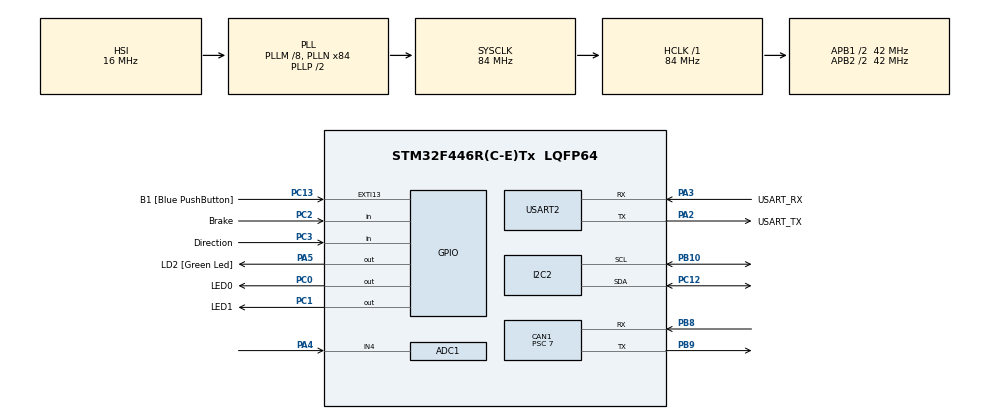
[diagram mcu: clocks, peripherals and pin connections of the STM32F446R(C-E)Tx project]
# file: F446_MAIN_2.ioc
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ADC1.Channel-0\#ChannelRegularConversion=ADC_CHANNEL_4
ADC1.ContinuousConvMode=ENABLE
ADC1.NbrOfConversionFlag=1
ADC1.Rank-0\#ChannelRegularConversion=1
ADC1.SamplingTime-0\#ChannelRegularConversion=ADC_SAMPLETIME_3CYCLES
ADC1.master=1
CAN1.ABOM=ENABLE
CAN1.BS1=CAN_BS1_9TQ
CAN1.BS2=CAN_BS2_2TQ
CAN1.CalculateBaudRate=499999
CAN1.CalculateTimeBit=2000
CAN1.CalculateTimeQuantum=166.66666666666669
CAN1.NART=ENABLE
CAN1.Prescaler=7
Mcu.Family=STM32F4
Mcu.Name=STM32F446R(C-E)Tx
Mcu.Package=LQFP64
NVIC.CAN1_RX0_IRQn=true\:0\:0\:false\:false\:true\:true\:true\:true
NVIC.PriorityGroup=NVIC_PRIORITYGROUP_0
PA13.GPIO_Label=TMS
PA13.Mode=Serial_Wire
PA13.Signal=SYS_JTMS-SWDIO
PA14.GPIO_Label=TCK
PA14.Mode=Serial_Wire
PA14.Signal=SYS_JTCK-SWCLK
PA2.GPIO_Label=USART_TX
PA2.Mode=Asynchronous
PA2.Signal=USART2_TX
PA3.GPIO_Label=USART_RX
PA3.Mode=Asynchronous
PA3.Signal=USART2_RX
PA4.Signal=ADCx_IN4
PA5.GPIO_Label=LD2 [Green Led]
PA5.Signal=GPIO_Output
PB10.Mode=I2C
PB10.Signal=I2C2_SCL
PB3.GPIO_Label=SWO
PB3.Signal=SYS_JTDO-SWO
PB8.Mode=CAN_Activate
PB8.Signal=CAN1_RX
PB9.Mode=CAN_Activate
PB9.Signal=CAN1_TX
PC0.GPIO_Label=LED0
PC0.Signal=GPIO_Output
PC1.GPIO_Label=LED1
PC1.Signal=GPIO_Output
PC12.Mode=I2C
PC12.Signal=I2C2_SDA
PC13.GPIO_Label=B1 [Blue PushButton]
PC13.GPIO_ModeDefaultEXTI=GPIO_MODE_IT_FALLING
PC13.Signal=GPXTI13
PC14-OSC32_IN.Signal=RCC_OSC32_IN
PC15-OSC32_OUT.Signal=RCC_OSC32_OUT
PC2.GPIO_Label=Brake
PC2.GPIO_PuPd=GPIO_PULLUP
PC2.Signal=GPIO_Input
PC3.GPIO_Label=Direction
PC3.GPIO_PuPd=GPIO_PULLUP
PC3.Signal=GPIO_Input
PH0-OSC_IN.Mode=HSE-External-Clock-Source
PH0-OSC_IN.Signal=RCC_OSC_IN
PH1-OSC_OUT.Mode=HSE-External-Clock-Source
PH1-OSC_OUT.Signal=RCC_OSC_OUT
ProjectManager.HeapSize=0x200
ProjectManager.StackSize=0x400
ProjectManager.TargetToolchain=STM32CubeIDE
RCC.AHBFreq_Value=84000000
RCC.APB1CLKDivider=RCC_HCLK_DIV2
RCC.APB1Freq_Value=42000000
RCC.APB1TimFreq_Value=84000000
RCC.APB2CLKDivider=RCC_HCLK_DIV2
RCC.APB2Freq_Value=42000000
RCC.APB2TimFreq_Value=84000000
RCC.CortexFreq_Value=84000000
RCC.FLatency-AdvancedSettings=FLASH_LATENCY_2
RCC.HCLKFreq_Value=84000000
RCC.HSE_VALUE=8000000
RCC.HSI_VALUE=16000000
RCC.LSE_VALUE=32768
RCC.PLLM=8
RCC.PLLN=84
RCC.SYSCLKFreq_VALUE=84000000
RCC.SYSCLKSource=RCC_SYSCLKSOURCE_PLLCLK
RCC.USBFreq_Value=84000000
RCC.VCOOutputFreq_Value=168000000
SH.ADCx_IN4.0=ADC1_IN4,IN4
USART2.VirtualMode=VM_ASYNC
board=NUCLEO-F446RE

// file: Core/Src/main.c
/* USER CODE BEGIN Header */
/**
 ******************************************************************************
 * @file           : main.c
 * @brief          : Main program body
 ******************************************************************************
 * @attention
 *
 * Copyright (c) 2026 STMicroelectronics.
 * All rights reserved.
 *
 * This software is licensed under terms that can be found in the LICENSE file
 * in the root directory of this software component.
 * If no LICENSE file comes with this software, it is provided AS-IS.
 *
 ******************************************************************************
 */
/* USER CODE END Header */
#include "main.h"

/* USER CODE BEGIN Includes */
#include <stdarg.h>
#include <stdio.h>
#include <string.h>
#include "i2c-lcd.h"
/* USER CODE END Includes */

ADC_HandleTypeDef hadc1;

CAN_HandleTypeDef hcan1;

I2C_HandleTypeDef hi2c2;

UART_HandleTypeDef huart2;

/* USER CODE BEGIN PV */

#define CAN_ID_MAIN_TO_ABS       0x111u
#define CAN_ID_ABS_TO_MAIN       0x121u
#define CAN_ID_AIRBAG_TO_MAIN    0x122u

#define UART_PRINT_TIMEOUT_MS    100U
#define ADC_POLL_TIMEOUT_MS      10U
#define TASK_PERIOD_MS           100U

#define LCD_20X04_COLS          20U
#define LCD_20X04_BUF_LEN       21U

char lcd_line0[LCD_20X04_BUF_LEN];
char lcd_line1[LCD_20X04_BUF_LEN];
char lcd_line2[LCD_20X04_BUF_LEN];
char lcd_line3[LCD_20X04_BUF_LEN];

uint8_t speed_left_cmps = 0U;
uint8_t speed_right_cmps = 0U;
uint8_t speed_avg_cmps = 0U;
uint8_t speed_display = 0U;
uint8_t blink_state = 0U;

#define MOVAVG_OLD_WEIGHT        3U
#define MOVAVG_DIVISOR           4U
#define DISPLAY_ZERO_THRESHOLD   2U

char buff[128];

CAN_FilterTypeDef sFilterConfig;
CAN_RxHeaderTypeDef RxHeader;
uint8_t RxData[8];

CAN_TxHeaderTypeDef TxHeader;
uint32_t TxMailbox;
uint8_t TxDataABS[8] = {0u};

uint8_t main_to_abs_cnt = 0u;

volatile uint32_t adc_val = 0u;
volatile uint8_t sw1 = 0u;     // brake
volatile uint8_t sw2 = 0u;      // direction
volatile uint8_t dir_sw = 0u;   // 0=FWD, 1=REV

volatile uint8_t abs1 = 0u;
volatile uint8_t abs2 = 0u;
volatile uint8_t abs3 = 0u;

volatile uint8_t airbag1 = 0u;
volatile uint8_t airbag2 = 0u;
volatile uint8_t airbag3 = 0u;

volatile uint8_t abs_new_data = 0u;
volatile uint8_t airbag_new_data = 0u;
volatile uint8_t emergency_stop = 0u;
/* USER CODE END PV */

void SystemClock_Config(void);
static void MX_GPIO_Init(void);
static void MX_CAN1_Init(void);
static void MX_USART2_UART_Init(void);
static void MX_ADC1_Init(void);
static void MX_I2C2_Init(void);
/* USER CODE BEGIN PFP */

void mPrint(const char *format, ...);
void Send_Command_To_ABS(void);
void Update_Rear_LEDs(void);

/* USER CODE END PFP */

/* USER CODE BEGIN 0 */

void mPrint(const char * format, ...)
{
	va_list args;
	int32_t len;
	(void)memset((void *)buff, 0, sizeof(buff));

	va_start(args, format);
	len = (int32_t)vsnprintf(buff, sizeof(buff), format, args);
	va_end(args);

	if (len > 0)
	{
		uint16_t tx_len = (len >= (int32_t)sizeof(buff)) ? (uint16_t)(sizeof(buff) - 1U) : (uint16_t)len;
		(void)HAL_UART_Transmit(&huart2, (uint8_t *)buff, tx_len, UART_PRINT_TIMEOUT_MS);
	}
}

void Read_Local_Inputs(void)
{
	//Read pot
	HAL_ADC_Start(&hadc1);
	HAL_ADC_PollForConversion(&hadc1, ADC_POLL_TIMEOUT_MS);
	adc_val = HAL_ADC_GetValue(&hadc1);
	HAL_ADC_Stop(&hadc1);

	//PC2 brake
	sw1 = (HAL_GPIO_ReadPin(GPIOC, GPIO_PIN_13) == GPIO_PIN_RESET) ? 1U : 0U;

	//PC3 direction
	sw2 = (HAL_GPIO_ReadPin(GPIOC, GPIO_PIN_3) == GPIO_PIN_RESET) ? 1U : 0U;
	dir_sw = sw2;
}

void Send_Command_To_ABS(void)
{
	uint32_t adc_to_send;
	uint8_t brake_to_send;
	uint8_t dir_to_send;
	HAL_StatusTypeDef can_status;

	TxHeader.StdId = CAN_ID_MAIN_TO_ABS;
	TxHeader.ExtId = 0u;
	TxHeader.IDE   = CAN_ID_STD;
	TxHeader.RTR   = CAN_RTR_DATA;
	TxHeader.DLC   = 4u;
	TxHeader.TransmitGlobalTime = DISABLE;

	Read_Local_Inputs();

	adc_to_send   = adc_val;
	brake_to_send = sw1;
	dir_to_send   = sw2;

	if (emergency_stop)
	{
		adc_to_send   = 0u;
		brake_to_send = 1u;
	}

	TxDataABS[0] = (uint8_t)(adc_to_send & 0xFFu);         // low byte
	TxDataABS[1] = (uint8_t)((adc_to_send >> 8) & 0x0Fu);  // high byte
	TxDataABS[2] = brake_to_send;                         // brake
	TxDataABS[3] = dir_to_send;                           // dir

	can_status = HAL_CAN_AddTxMessage(&hcan1, &TxHeader, TxDataABS, &TxMailbox);

	if (can_status == HAL_OK)
	{
		if (emergency_stop != 0U)
		{
			mPrint("[MAIN->ABS] EMERGENCY STOP | RAW=%02X %02X %02X %02X\r\n",
					TxDataABS[0],
					TxDataABS[1],
					TxDataABS[2],
					TxDataABS[3]);
		}
		else
		{
			mPrint("[MAIN TX ABS] ID=0x111 | ADC=%lu | BRAKE=%u | DIR=%u | RAW=%02X %02X %02X %02X\r\n",
					adc_to_send,
					brake_to_send,
					dir_to_send,
					TxDataABS[0],
					TxDataABS[1],
					TxDataABS[2],
					TxDataABS[3]);
		}

		main_to_abs_cnt++;
	}
	else
	{
		mPrint("[MAIN TX ABS] FAIL | err=0x%08lX | free=%lu\r\n",
				HAL_CAN_GetError(&hcan1),
				HAL_CAN_GetTxMailboxesFreeLevel(&hcan1));
	}
}

void HAL_CAN_RxFifo0MsgPendingCallback(CAN_HandleTypeDef * hcan)
{
	HAL_StatusTypeDef rx_status = HAL_CAN_GetRxMessage(hcan, CAN_RX_FIFO0, &RxHeader, RxData);

	if (rx_status == HAL_OK && RxHeader.IDE == CAN_ID_STD) //STD-11bits
	{
		if (RxHeader.StdId == CAN_ID_ABS_TO_MAIN) //0x121
		{
			if (RxHeader.DLC >= 3U)
			{
				abs1 = RxData[0];
				abs2 = RxData[1];
				abs3 = RxData[2];
				abs_new_data = 1U;
			}
		}
		else if (RxHeader.StdId == CAN_ID_AIRBAG_TO_MAIN) //0x122
		{
			if (RxHeader.DLC >= 1U)
			{
				airbag1 = RxData[0];
				if (airbag1 == 1u) {
					emergency_stop = 1u;
				} else {
					emergency_stop = 0u;
				}
				airbag_new_data = 1U;
			}
		}
	}
}

void Update_Rear_LEDs(void)
{
	if (sw1 == 1U)//brake
	{
		HAL_GPIO_WritePin(GPIOC, GPIO_PIN_0 | GPIO_PIN_1, GPIO_PIN_SET);
	}
	else if (dir_sw == 1U)//backward
	{
		//500ms on-off
		if ((HAL_GetTick() / 500U) % 2U == 0U)
		{
			HAL_GPIO_WritePin(GPIOC, GPIO_PIN_0 | GPIO_PIN_1, GPIO_PIN_SET);
		}
		else
		{
			HAL_GPIO_WritePin(GPIOC, GPIO_PIN_0 | GPIO_PIN_1, GPIO_PIN_RESET);
		}
	}
	else
	{
		HAL_GPIO_WritePin(GPIOC, GPIO_PIN_0 | GPIO_PIN_1, GPIO_PIN_RESET);
	}
}

void Update_LCD(void)
{
	static uint32_t last_lcd_update = 0;

	if (HAL_GetTick() - last_lcd_update >= 150)
	{
		last_lcd_update = HAL_GetTick();

		char buf0[21] = {0};
		char buf1[21] = {0};
		char buf2[21] = {0};
		char buf3[21] = {0};

		if (emergency_stop == 1u)
		{
			sprintf(buf0, "!!! EMERGENCY !!!");
			sprintf(buf1, "  AIRBAG DEPLOYED!  ");
			sprintf(buf2, "  SYSTEM LOCKED  ");
			sprintf(buf3, "  ACTION NEEDED  ");
		}
		else
		{
			char* dir_str = (dir_sw == 0) ? "FWD" : "REV";
			sprintf(buf0, "	NODE MAIN	");

			uint8_t throttle_pct = (adc_val * 100) / 4095;
			uint8_t num_blocks = (adc_val * 10) / 4095;
			if (num_blocks > 10) num_blocks = 10;

			char bar[11];
			for(int i = 0; i < 10; i++) {
				if (i < num_blocks) {
					bar[i] = (char)0xFF;
				} else {
					bar[i] = '-';
				}
			}
			bar[10] = '\0';
			sprintf(buf1, "THR:[%s] %3d%%", bar, throttle_pct);

			sprintf(buf2, "SPD: %3d  DIR:%s", abs1, dir_str);

			char* brk_str = (sw1 == 1) ? "ON " : "OFF";
			sprintf(buf3, "BRK:%s  TX_CNT: %3d", brk_str, main_to_abs_cnt);
		}

		char* buffers[] = {buf0, buf1, buf2, buf3};
		for (int j = 0; j < 4; j++) {
			int len = strlen(buffers[j]);
			for (int i = len; i < 20; i++) {
				buffers[j][i] = ' '; // Điền khoảng trắng
			}
			buffers[j][20] = '\0';   // Đảm bảo kết thúc chuỗi đúng chuẩn
		}

		lcd_put_cur(0, 0); lcd_send_string(buf0);
		lcd_put_cur(1, 0); lcd_send_string(buf1);
		lcd_put_cur(2, 0); lcd_send_string(buf2);
		lcd_put_cur(3, 0); lcd_send_string(buf3);
	}
}

/* USER CODE END 0 */

int main(void)
{

	/* MCU Configuration--------------------------------------------------------*/

	/* Reset of all peripherals, Initializes the Flash interface and the Systick. */
	HAL_Init();

	/* Configure the system clock */
	SystemClock_Config();

	/* Initialize all configured peripherals */
	MX_GPIO_Init();
	MX_CAN1_Init();
	MX_USART2_UART_Init();
	MX_ADC1_Init();
	MX_I2C2_Init();
	/* USER CODE BEGIN 2 */

	HAL_GPIO_WritePin(GPIOA, GPIO_PIN_5, GPIO_PIN_SET);
	mPrint("\r\n=============================\r\n");
	mPrint("BOOT OK F446RE MAIN NODE\r\n");

	sFilterConfig.FilterBank = 0;
	sFilterConfig.FilterMode = CAN_FILTERMODE_IDMASK;
	sFilterConfig.FilterScale = CAN_FILTERSCALE_32BIT; //32bit
	sFilterConfig.FilterFIFOAssignment = CAN_FILTER_FIFO0;
	sFilterConfig.FilterActivation = CAN_FILTER_ENABLE;
	sFilterConfig.SlaveStartFilterBank = 14;

	sFilterConfig.FilterIdHigh      = (CAN_ID_ABS_TO_MAIN << 5);//0x121
	sFilterConfig.FilterIdLow       = (CAN_ID_AIRBAG_TO_MAIN << 5);//0x122
	sFilterConfig.FilterMaskIdHigh  = 0x0000;
	sFilterConfig.FilterMaskIdLow   = 0x0000;

	if (HAL_CAN_ConfigFilter(&hcan1, &sFilterConfig) != HAL_OK) {
		mPrint("CAN Filter Config FAIL\r\n");
		Error_Handler();
	}
	mPrint("CAN Filter Config OK\r\n");

	if (HAL_CAN_Start(&hcan1) != HAL_OK) {
		mPrint("CAN Start FAIL\r\n");
		Error_Handler();
	}
	mPrint("CAN Start OK\r\n");

	if (HAL_CAN_ActivateNotification(&hcan1, CAN_IT_RX_FIFO0_MSG_PENDING) != HAL_OK) {
		mPrint("CAN Notification FAIL\r\n");
		Error_Handler();
	}
	mPrint("CAN Notification OK\r\n");

	//NVIC
	HAL_NVIC_SetPriority(CAN1_RX0_IRQn, 5, 0);
	HAL_NVIC_EnableIRQ(CAN1_RX0_IRQn);
	mPrint("CAN RX0 NVIC OK\r\n");

	mPrint("MAIN READY | TX:0x111 | RX:0x121 | RX:0x122\r\n");
	mPrint("=============================\r\n\r\n");

	lcd_init();
	lcd_put_cur(0, 0);
	lcd_send_string("MAIN NODE READY ");
	HAL_Delay(1000);
	/* USER CODE END 2 */

	/* Infinite loop */
	while (1)
	{

		/* USER CODE BEGIN 3 */
		Send_Command_To_ABS();

		Update_Rear_LEDs();

		if (abs_new_data != 0U)
		{
			abs_new_data = 0U;
			mPrint("[MAIN RX ABS] ID=0x121 | D0=%u | D1=%02X | D2=%02X\r\n", abs1, abs2, abs3);
		}

		if (airbag_new_data != 0U)
		{
			airbag_new_data = 0U;
			if (emergency_stop == 1u) {
				mPrint("\r\n[!!!] AIRBAG DEPLOYED! EMERGENCY [!!!]\r\n");
			} else {
				mPrint("[MAIN RX AIRBAG] ID=0x122 | Status: SAFE\r\n\n");
			}
		}

		Update_LCD();

		HAL_Delay(100);
	}
	/* USER CODE END 3 */
}

void SystemClock_Config(void)
{
	RCC_OscInitTypeDef RCC_OscInitStruct = {0};
	RCC_ClkInitTypeDef RCC_ClkInitStruct = {0};

	/** Configure the main internal regulator output voltage
	 */
	__HAL_RCC_PWR_CLK_ENABLE();
	__HAL_PWR_VOLTAGESCALING_CONFIG(PWR_REGULATOR_VOLTAGE_SCALE3);

	/** Initializes the RCC Oscillators according to the specified parameters
	 * in the RCC_OscInitTypeDef structure.
	 */
	RCC_OscInitStruct.OscillatorType = RCC_OSCILLATORTYPE_HSI;
	RCC_OscInitStruct.HSIState = RCC_HSI_ON;
	RCC_OscInitStruct.HSICalibrationValue = RCC_HSICALIBRATION_DEFAULT;
	RCC_OscInitStruct.PLL.PLLState = RCC_PLL_ON;
	RCC_OscInitStruct.PLL.PLLSource = RCC_PLLSOURCE_HSI;
	RCC_OscInitStruct.PLL.PLLM = 8;
	RCC_OscInitStruct.PLL.PLLN = 84;
	RCC_OscInitStruct.PLL.PLLP = RCC_PLLP_DIV2;
	RCC_OscInitStruct.PLL.PLLQ = 2;
	RCC_OscInitStruct.PLL.PLLR = 2;
	if (HAL_RCC_OscConfig(&RCC_OscInitStruct) != HAL_OK)
	{
		Error_Handler();
	}

	/** Initializes the CPU, AHB and APB buses clocks
	 */
	RCC_ClkInitStruct.ClockType = RCC_CLOCKTYPE_HCLK|RCC_CLOCKTYPE_SYSCLK
			|RCC_CLOCKTYPE_PCLK1|RCC_CLOCKTYPE_PCLK2;
	RCC_ClkInitStruct.SYSCLKSource = RCC_SYSCLKSOURCE_PLLCLK;
	RCC_ClkInitStruct.AHBCLKDivider = RCC_SYSCLK_DIV1;
	RCC_ClkInitStruct.APB1CLKDivider = RCC_HCLK_DIV2;
	RCC_ClkInitStruct.APB2CLKDivider = RCC_HCLK_DIV2;

	if (HAL_RCC_ClockConfig(&RCC_ClkInitStruct, FLASH_LATENCY_2) != HAL_OK)
	{
		Error_Handler();
	}
}

static void MX_ADC1_Init(void)
{

	ADC_ChannelConfTypeDef sConfig = {0};

	/** Configure the global features of the ADC (Clock, Resolution, Data Alignment and number of conversion)
	 */
	hadc1.Instance = ADC1;
	hadc1.Init.ClockPrescaler = ADC_CLOCK_SYNC_PCLK_DIV2;
	hadc1.Init.Resolution = ADC_RESOLUTION_12B;
	hadc1.Init.ScanConvMode = DISABLE;
	hadc1.Init.ContinuousConvMode = ENABLE;
	hadc1.Init.DiscontinuousConvMode = DISABLE;
	hadc1.Init.ExternalTrigConvEdge = ADC_EXTERNALTRIGCONVEDGE_NONE;
	hadc1.Init.ExternalTrigConv = ADC_SOFTWARE_START;
	hadc1.Init.DataAlign = ADC_DATAALIGN_RIGHT;
	hadc1.Init.NbrOfConversion = 1;
	hadc1.Init.DMAContinuousRequests = DISABLE;
	hadc1.Init.EOCSelection = ADC_EOC_SINGLE_CONV;
	if (HAL_ADC_Init(&hadc1) != HAL_OK)
	{
		Error_Handler();
	}

	/** Configure for the selected ADC regular channel its corresponding rank in the sequencer and its sample time.
	 */
	sConfig.Channel = ADC_CHANNEL_4;
	sConfig.Rank = 1;
	sConfig.SamplingTime = ADC_SAMPLETIME_3CYCLES;
	if (HAL_ADC_ConfigChannel(&hadc1, &sConfig) != HAL_OK)
	{
		Error_Handler();
	}

}

static void MX_CAN1_Init(void)
{

	/* USER CODE BEGIN CAN1_Init 1 */
	__HAL_RCC_CAN1_CLK_ENABLE();
	__HAL_RCC_GPIOB_CLK_ENABLE();

	GPIO_InitTypeDef GPIO_InitStruct = {0};

	// PB8 = CAN_RX, PB9 = CAN_TX
	GPIO_InitStruct.Pin = GPIO_PIN_8 | GPIO_PIN_9;
	GPIO_InitStruct.Mode = GPIO_MODE_AF_PP;
	GPIO_InitStruct.Pull = GPIO_PULLUP;
	GPIO_InitStruct.Speed = GPIO_SPEED_FREQ_VERY_HIGH;
	GPIO_InitStruct.Alternate = GPIO_AF9_CAN1;
	HAL_GPIO_Init(GPIOB, &GPIO_InitStruct);
	/* USER CODE END CAN1_Init 1 */
	hcan1.Instance = CAN1;
	hcan1.Init.Prescaler = 7;
	hcan1.Init.Mode = CAN_MODE_NORMAL;
	hcan1.Init.SyncJumpWidth = CAN_SJW_1TQ;
	hcan1.Init.TimeSeg1 = CAN_BS1_9TQ;
	hcan1.Init.TimeSeg2 = CAN_BS2_2TQ;
	hcan1.Init.TimeTriggeredMode = DISABLE;
	hcan1.Init.AutoBusOff = ENABLE;
	hcan1.Init.AutoWakeUp = DISABLE;
	hcan1.Init.AutoRetransmission = ENABLE;
	hcan1.Init.ReceiveFifoLocked = DISABLE;
	hcan1.Init.TransmitFifoPriority = DISABLE;
	if (HAL_CAN_Init(&hcan1) != HAL_OK)
	{
		Error_Handler();
	}

}

static void MX_I2C2_Init(void)
{

	/* USER CODE BEGIN I2C2_Init 1 */
	__HAL_RCC_GPIOB_CLK_ENABLE();
	__HAL_RCC_GPIOC_CLK_ENABLE();
	__HAL_RCC_I2C2_CLK_ENABLE();

	GPIO_InitTypeDef GPIO_InitStruct = {0};

	// Cấu hình PB10 cho I2C2_SCL
	GPIO_InitStruct.Pin = GPIO_PIN_10;
	GPIO_InitStruct.Mode = GPIO_MODE_AF_OD;
	GPIO_InitStruct.Pull = GPIO_PULLUP;
	GPIO_InitStruct.Speed = GPIO_SPEED_FREQ_VERY_HIGH;
	GPIO_InitStruct.Alternate = GPIO_AF4_I2C2;
	HAL_GPIO_Init(GPIOB, &GPIO_InitStruct);

	// Cấu hình PC12 cho I2C2_SDA
	GPIO_InitStruct.Pin = GPIO_PIN_12;
	GPIO_InitStruct.Mode = GPIO_MODE_AF_OD;
	GPIO_InitStruct.Pull = GPIO_PULLUP;
	GPIO_InitStruct.Speed = GPIO_SPEED_FREQ_VERY_HIGH;
	GPIO_InitStruct.Alternate = GPIO_AF4_I2C2;
	HAL_GPIO_Init(GPIOC, &GPIO_InitStruct);
	/* USER CODE END I2C2_Init 1 */
	hi2c2.Instance = I2C2;
	hi2c2.Init.ClockSpeed = 100000;
	hi2c2.Init.DutyCycle = I2C_DUTYCYCLE_2;
	hi2c2.Init.OwnAddress1 = 0;
	hi2c2.Init.AddressingMode = I2C_ADDRESSINGMODE_7BIT;
	hi2c2.Init.DualAddressMode = I2C_DUALADDRESS_DISABLE;
	hi2c2.Init.OwnAddress2 = 0;
	hi2c2.Init.GeneralCallMode = I2C_GENERALCALL_DISABLE;
	hi2c2.Init.NoStretchMode = I2C_NOSTRETCH_DISABLE;
	if (HAL_I2C_Init(&hi2c2) != HAL_OK)
	{
		Error_Handler();
	}

}

static void MX_USART2_UART_Init(void)
{

	huart2.Instance = USART2;
	huart2.Init.BaudRate = 115200;
	huart2.Init.WordLength = UART_WORDLENGTH_8B;
	huart2.Init.StopBits = UART_STOPBITS_1;
	huart2.Init.Parity = UART_PARITY_NONE;
	huart2.Init.Mode = UART_MODE_TX_RX;
	huart2.Init.HwFlowCtl = UART_HWCONTROL_NONE;
	huart2.Init.OverSampling = UART_OVERSAMPLING_16;
	if (HAL_UART_Init(&huart2) != HAL_OK)
	{
		Error_Handler();
	}

}

static void MX_GPIO_Init(void)
{
	GPIO_InitTypeDef GPIO_InitStruct = {0};

	/* GPIO Ports Clock Enable */
	__HAL_RCC_GPIOC_CLK_ENABLE();
	__HAL_RCC_GPIOH_CLK_ENABLE();
	__HAL_RCC_GPIOA_CLK_ENABLE();
	__HAL_RCC_GPIOB_CLK_ENABLE();

	/*Configure GPIO pin Output Level */
	HAL_GPIO_WritePin(GPIOC, LED0_Pin|LED1_Pin, GPIO_PIN_RESET);

	/*Configure GPIO pin Output Level */
	HAL_GPIO_WritePin(LD2_GPIO_Port, LD2_Pin, GPIO_PIN_RESET);

	/*Configure GPIO pin : B1_Pin */
	GPIO_InitStruct.Pin = B1_Pin;
	GPIO_InitStruct.Mode = GPIO_MODE_IT_FALLING;
	GPIO_InitStruct.Pull = GPIO_NOPULL;
	HAL_GPIO_Init(B1_GPIO_Port, &GPIO_InitStruct);

	/*Configure GPIO pins : LED0_Pin LED1_Pin */
	GPIO_InitStruct.Pin = LED0_Pin|LED1_Pin;
	GPIO_InitStruct.Mode = GPIO_MODE_OUTPUT_PP;
	GPIO_InitStruct.Pull = GPIO_NOPULL;
	GPIO_InitStruct.Speed = GPIO_SPEED_FREQ_LOW;
	HAL_GPIO_Init(GPIOC, &GPIO_InitStruct);

	/*Configure GPIO pins : Brake_Pin Direction_Pin */
	GPIO_InitStruct.Pin = Brake_Pin|Direction_Pin;
	GPIO_InitStruct.Mode = GPIO_MODE_INPUT;
	GPIO_InitStruct.Pull = GPIO_PULLUP;
	HAL_GPIO_Init(GPIOC, &GPIO_InitStruct);

	/*Configure GPIO pin : LD2_Pin */
	GPIO_InitStruct.Pin = LD2_Pin;
	GPIO_InitStruct.Mode = GPIO_MODE_OUTPUT_PP;
	GPIO_InitStruct.Pull = GPIO_NOPULL;
	GPIO_InitStruct.Speed = GPIO_SPEED_FREQ_LOW;
	HAL_GPIO_Init(LD2_GPIO_Port, &GPIO_InitStruct);

}

/* USER CODE BEGIN 4 */
void CAN1_RX0_IRQHandler(void)
{
	HAL_CAN_IRQHandler(&hcan1);
}
/* USER CODE END 4 */

void Error_Handler(void)
{
	__disable_irq();
	while (1)
	{
	}
}
